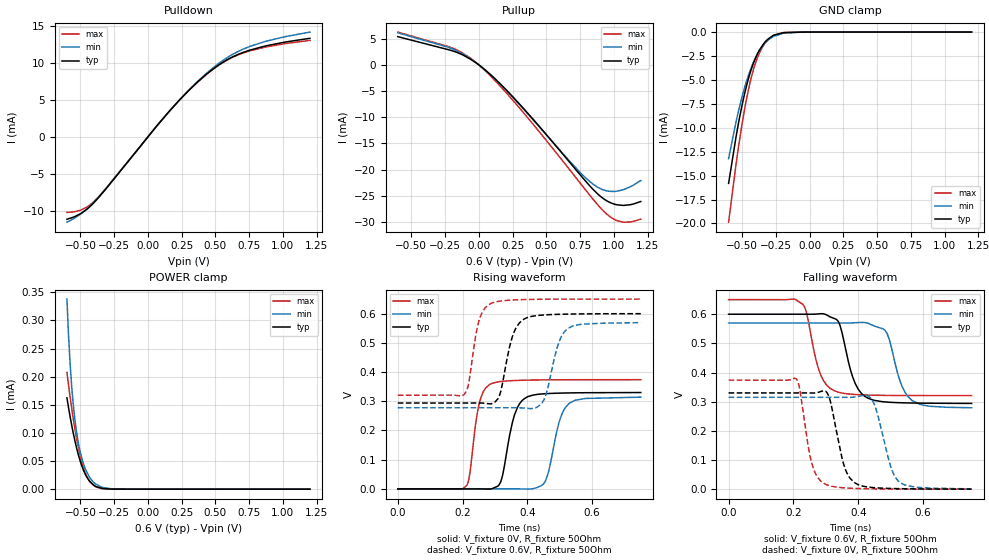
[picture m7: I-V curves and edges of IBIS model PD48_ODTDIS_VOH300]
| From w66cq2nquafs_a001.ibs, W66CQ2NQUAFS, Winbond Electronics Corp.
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[Model]   PD48_ODTDIS_VOH300
Model_type   I/O
Polarity   Non-Inverting
Enable   Active-Low
Vinl = 0.08
Vinh = 0.22
Vmeas = 0.15
Vref = 0
Cref = 0pF
|   typ   min   max
C_comp   0.85pF   0.80pF   0.90pF
[Voltage Range]   0.6   0.57   0.65
[Temperature Range]   25   125   -40
[Pullup Reference]   0.6   0.57   0.65
[Pulldown Reference]   0   0   0
[Power Clamp Reference]   0.6   0.57   0.65
[GND Clamp Reference]   0   0   0
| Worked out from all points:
|   slope of the pulldown table from 0 to 0.09 V, typ, clamps not added: 44.9 ohm
|   slope of the pullup table from 0 to 0.09 V, typ, clamps not added: 46.4 ohm
|   GND clamp passes 1 mA (typ) near -0.33 V on its own axis
|   falling waveform, V_fixture 0.6V, R_fixture 50Ohm: 20-80 % time 44.5ps typ, 45.9ps min, 41.8ps max; typ from 0.6 V to 0.294 V
|   rising waveform, V_fixture 0V, R_fixture 50Ohm: 20-80 % time 37.1ps typ, 38.9ps min, 28.1ps max; typ from 0 V to 0.33 V
|   rising waveform, V_fixture 0.6V, R_fixture 50Ohm: 20-80 % time 37.6ps typ, 39.9ps min, 30.5ps max; typ from 0.294 V to 0.6 V
|   falling waveform, V_fixture 0V, R_fixture 50Ohm: 20-80 % time 39.8ps typ, 44ps min, 35.1ps max; typ from 0.33 V to 0 V
[Pulldown]
|   Voltage   I(typ)   I(min)   I(max)
-600mV    -11.13mA   -11.53mA   -10.21mA
-498.6mV  -10.37mA   -10.43mA   -9.901mA
-455.7mV  -9.83mA    -9.802mA   -9.526mA
-400.5mV  -8.899mA   -8.831mA   -8.739mA
-300.6mV  -6.799mA   -6.751mA   -6.731mA
162mV     3.535mA    3.526mA    3.528mA
337.7mV   6.898mA    6.949mA    6.875mA
465.3mV   8.928mA    9.075mA    8.892mA
618.8mV   10.73mA    11.06mA    10.68mA
754.6mV   11.71mA    12.21mA    11.62mA
1.011V    12.79mA    13.51mA    12.58mA
1.2V      13.31mA    14.16mA    13.04mA
[GND Clamp]
|   Voltage   I(typ)   I(min)   I(max)
-600mV    -15.82mA   -13.22mA   -19.87mA
-525.2mV  -9.419mA   -8.167mA   -11.87mA
-474.6mV  -6.032mA   -5.468mA   -7.515mA
-448.4mV  -4.638mA   -4.317mA   -5.73mA
-410.8mV  -3.057mA   -2.995mA   -3.664mA
-388.2mV  -2.329mA   -2.35mA    -2.73mA
-343.9mV  -1.284mA   -1.37mA    -1.435mA
-308.2mV  -731uA     -836.7uA   -797.5uA
-266.4mV  -329.6uA   -443.3uA   -344.5uA
-197mV    -72.81uA   -129uA     -57.49uA
-59.4mV   -1.422uA   -6.782uA   -408.2nA
1.2V      0A         0A         0A
[Pullup]
|   Voltage   I(typ)   I(min)   I(max)
-600mV    5.379mA    6.114mA    6.249mA
-197mV    2.68mA     3.06mA     3.229mA
-120mV    1.909mA    2.095mA    2.262mA
1.25mV    -24.41uA   -29.2uA    -28.42uA
126.2mV   -2.808mA   -2.893mA   -3.174mA
298.9mV   -7.414mA   -7.529mA   -8.166mA
759.4mV   -21.26mA   -20.8mA    -22.86mA
881.3mV   -24.68mA   -23.39mA   -26.75mA
953.8mV   -26.07mA   -24.1mA    -28.64mA
1.026V    -26.75mA   -24.13mA   -29.77mA
1.124V    -26.71mA   -23.28mA   -30.01mA
1.2V      -26.11mA   -22.11mA   -29.49mA
[POWER Clamp]
|   Voltage   I(typ)   I(min)   I(max)
-600mV    162.4uA    337.9uA    207.7uA
-589.2mV  146.5uA    278.7uA    187uA
-577.8mV  130.7uA    228.3uA    166.2uA
-565.8mV  115uA      186.1uA    145.6uA
-551mV    97.25uA    145.5uA    121.9uA
-527.6mV  72.36uA    99.65uA    88.86uA
-500.2mV  48.93uA    64.57uA    57.66uA
-467.2mV  28.08uA    37.96uA    31.21uA
-433.6mV  14.64uA    21.77uA    14.59uA
-401.6mV  7.183uA    11.98uA    6.684uA
-270mV    139.3nA    676.5nA    32.48nA
1.2V      0A         0A         0A
[Ramp]
R_load = 50
|   typ   min   max
dV/dt_r 1.9798E-01/3.6694E-11   1.8852E-01/3.8865E-11   2.2434E-01/2.8071E-11
dV/dt_f 1.8350E-01/4.4500E-11   1.7451E-01/4.5727E-11   1.9746E-01/4.1665E-11
[Falling Waveform]
V_fixture = 0.6V
V_fixture_min = 0.57V
V_fixture_max = 0.65V
R_fixture = 50Ohm
C_fixture = 0F
|   Time   V(typ)   V(min)   V(max)
0s        600mV      570mV      650mV
229ps     600mV      570mV      633.8mV
278ps     601.2mV    570mV      410.8mV
325ps     585.8mV    570mV      338.2mV
391ps     361.9mV    570.7mV    324.6mV
422ps     317.2mV    571.1mV    323mV
487ps     298.8mV    538.4mV    321.6mV
530ps     296.5mV    367.8mV    321.2mV
566ps     295.5mV    304.3mV    321.1mV
750ps     294.2mV    279.2mV    320.9mV
[Rising Waveform]
V_fixture = 0V
V_fixture_min = 0V
V_fixture_max = 0V
R_fixture = 50Ohm
C_fixture = 0F
|   Time   V(typ)   V(min)   V(max)
0s        4.822uV    39.12uV    954.9nV
212ps     3.058uV    39.13uV    10.81mV
251ps     42.09uV    39.23uV    290.4mV
285ps     -514.5uV   38.36uV    358.4mV
318ps     25.26mV    37.04uV    367.7mV
360ps     252.1mV    77.68uV    371mV
390ps     308.5mV    -316.9uV   372.2mV
457ps     326.1mV    30.17mV    373.3mV
529ps     328.6mV    292.8mV    373.7mV
750ps     330mV      314.2mV    373.9mV
[Rising Waveform]
V_fixture = 0.6V
V_fixture_min = 0.57V
V_fixture_max = 0.65V
R_fixture = 50Ohm
C_fixture = 0F
|   Time   V(typ)   V(min)   V(max)
0s        294mV      277.9mV    320.9mV
204ps     294mV      277.9mV    322.3mV
251ps     294.2mV    277.9mV    576.9mV
293ps     292.6mV    277.9mV    637.2mV
317ps     330mV      277.9mV    643.1mV
359ps     537mV      278mV      647mV
390ps     581.7mV    276.7mV    648.3mV
452ps     595.6mV    307.1mV    649.4mV
523ps     598.5mV    547.8mV    649.8mV
750ps     599.9mV    569.3mV    650mV
[Falling Waveform]
|Gnd
V_fixture = 0V
V_fixture_min = 0V
V_fixture_max = 0V
R_fixture = 50Ohm
C_fixture = 0F
|   Time   V(typ)   V(min)   V(max)
0s        330mV      315mV      373.9mV
210ps     330mV      315mV      377.1mV
256ps     329.7mV    315mV      91.87mV
302ps     333mV      315mV      15.42mV
354ps     89.83mV    314.9mV    4.63mV
390ps     21.44mV    316mV      2.519mV
445ps     5.457mV    302.1mV    1.062mV
503ps     2.343mV    68.46mV    417uV
525ps     1.766mV    26.74mV    274.8uV
750ps     93.73uV    1.045mV    -14.82uV
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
